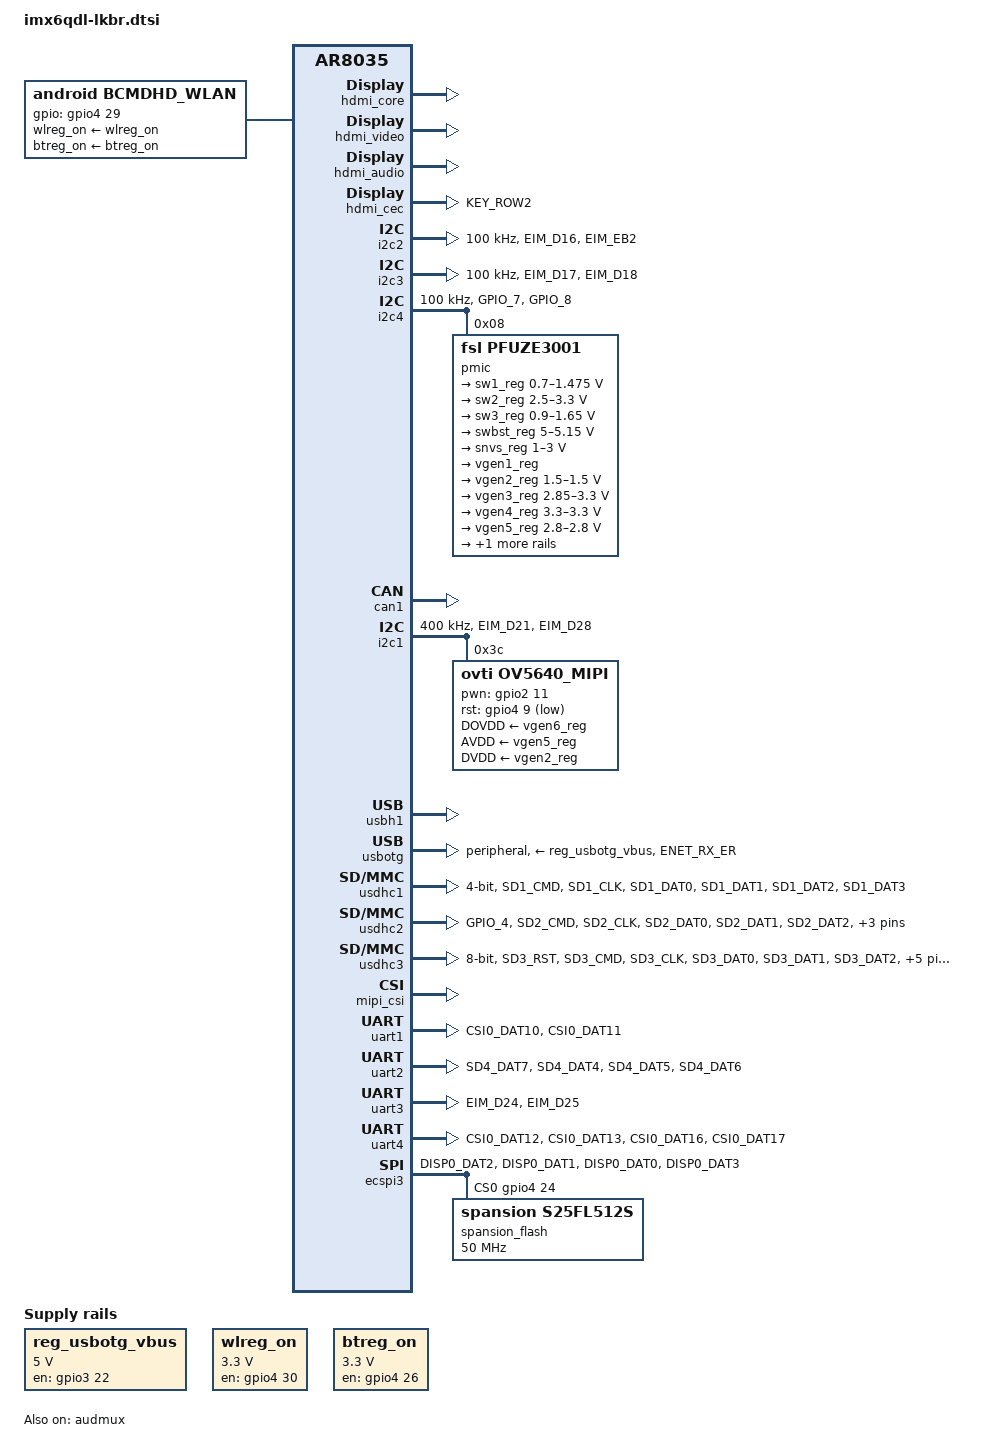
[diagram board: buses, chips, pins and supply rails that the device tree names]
/*
 * Copyright (C) 2015 Access-IS
 * Based on works by Solid Run & Russell King
 */
#include "imx6qdl-lkbr-ar8035.dtsi"

/ {
	chosen {
		bootargs = "quiet console=ttymxc0,115200 root=/dev/mmcblk0p2 rw";
	};

	aliases {
		mxcfb0 = &mxcfb1;
	};

	regulators {
		compatible = "simple-bus";

/*		reg_3p3v: 3p3v {
			compatible = "regulator-fixed";
			regulator-name = "3P3V";
			regulator-min-microvolt = <3300000>;
			regulator-max-microvolt = <3300000>;
			regulator-always-on;
		};

		reg_1p8v: 1p8v {
			compatible = "regulator-fixed";
			regulator-name = "1P8V";
			regulator-min-microvolt = <1800000>;
                        regulator-max-microvolt = <1800000>;
                        regulator-always-on;
		};

		reg_1p5v: 1p5v {
                        compatible = "regulator-fixed";
                        regulator-name = "1P5V";
                        regulator-min-microvolt = <1500000>;
                        regulator-max-microvolt = <1500000>;
                        regulator-always-on;
                };


		reg_2p8v: 2p8v {
                        compatible = "regulator-fixed";
                        regulator-name = "2P8V";
                        regulator-min-microvolt = <2800000>;
                        regulator-max-microvolt = <2800000>;
                        regulator-always-on;
                };
*/

/*		reg_usbh1_vbus: usb-h1-vbus {
			compatible = "regulator-fixed";
			enable-active-high;
			gpio = <&gpio1 0 0>;
			pinctrl-names = "default";
			pinctrl-0 = <&pinctrl_lkbr_usbh1_vbus>;
			regulator-name = "usb_h1_vbus";
			regulator-min-microvolt = <5000000>;
			regulator-max-microvolt = <5000000>;
		};
*/
		reg_usbotg_vbus: usb-otg-vbus {
			compatible = "regulator-fixed";
            enable-active-high;
			gpio = <&gpio3 22 0>;
			pinctrl-names = "default";
			pinctrl-0 = <&pinctrl_lkbr_usbotg_vbus>;
			regulator-name = "usb_otg_vbus";
			regulator-min-microvolt = <5000000>;
			regulator-max-microvolt = <5000000>;
		};

		wlreg_on: wl-reg {
			compatible = "regulator-fixed";
 			regulator-min-microvolt = <3300000>;
 			regulator-max-microvolt = <3300000>;
 			regulator-name = "wlreg_on";
            pinctrl-names = "default";
			pinctrl-0 = <&pinctrl_lkbr_wifi_wlreg>;
 			gpio = <&gpio4 30 0>; /* WL_REG_ON */
 			startup-delay-us = <60000>; /* WL_REG_ON preferred is 60000: default 500 */
 			enable-active-high;
 			/*regulator-boot-on;*/
 			regulator-always-on;
		};

		btreg_on: bt-reg {
			compatible = "regulator-fixed";
 			regulator-min-microvolt = <3300000>;
 			regulator-max-microvolt = <3300000>;
 			regulator-name = "btreg_on";
            pinctrl-names = "default";
			pinctrl-0 = <&pinctrl_lkbr_wifi_btreg>;
 			gpio = <&gpio4 26 0>; /* BT_REG_ON */
			startup-delay-us = <60000>;
 			enable-active-high;
 			/*regulator-boot-on;*/
 			regulator-always-on;
		};
	};

	bcmdhd_wlan {
		compatible = "android,bcmdhd_wlan";
                pinctrl-names = "default";
                pinctrl-0 = <&pinctrl_lkbr_wifi>;
//		bt_dev_wake_gpio = <&gpio4 27 0>; /* BT_DEV_WAKE */
//		bt_host_wake_gpio = <&gpio4 28 0>; /* BT_HOST_WAKE */
		gpios = <&gpio4 29 0>; /* WL_GPIO_0 */
		wlreg_on-supply = <&wlreg_on>;
		btreg_on-supply = <&btreg_on>;
	};


	sound-hdmi {
		compatible = "fsl,imx6q-audio-hdmi",
			     "fsl,imx-audio-hdmi";
		model = "imx-audio-hdmi";
		hdmi-controller = <&hdmi_audio>;
	};

	mxcfb1: fb@0 {
		compatible = "fsl,mxc_sdc_fb";
		disp_dev = "lcd";
		interface_pix_fmt = "RGB24";
		mode_str ="ACCESS43";
		default_bpp = <32>;
		int_clk = <0>;
		late_init = <0>;
		status = "okay";
	};

	lcd: lcd@0 {
		compatible = "fsl,lcd";
		ipu_id = <0>;
		disp_id = <1>;
		default_ifmt = "RGB24";
		pinctrl-names = "default";
		pinctrl-0 = <&pinctrl_ipu1_1>;
		status = "okay";
	};

	v4l2_cap_0 {
		compatible = "fsl,imx6q-v4l2-capture";
		ipu_id = <0>;
		csi_id = <1>;
		mclk_source = <0>;
		mipi_camera = <1>;
		default_input = <0>;
		status = "okay";
	};
};

&hdmi_core {
	ipu_id = <0>;
	disp_id = <0>;
	status = "okay";
};

&hdmi_video {
	fsl,phy_reg_vlev = <0x0294>;
	fsl,phy_reg_cksymtx = <0x800d>;
	status = "okay";
};

&hdmi_audio {
	status = "okay";
};

&hdmi_cec {
	pinctrl-names = "default";
	pinctrl-0 = <&pinctrl_lkbr_hdmi>;
	status = "okay";
};

&i2c2 {
	clock-frequency = <100000>;
	pinctrl-names = "default";
	pinctrl-0 = <&pinctrl_lkbr_i2c2>;
	status = "okay";
};

&i2c3 {
	clock-frequency = <100000>;
	pinctrl-names = "default";
	pinctrl-0 = <&pinctrl_lkbr_i2c3>;
	status = "okay";
};

&i2c4 {
	clock-frequency = <100000>;
	pinctrl-names = "default";
	pinctrl-0 = <&pinctrl_lkbr_i2c4>;
	status = "okay";

	pmic: pfuze3001@08 {
		compatible = "fsl,pfuze3001";
		reg = <0x08>;

		regulators {

			sw1_reg: sw1 {
				regulator-min-microvolt = <700000>;
				regulator-max-microvolt = <1475000>;
				regulator-always-on;
				regulator-ramp-delay = <6250>;
			};

			sw2_reg: sw2 {
				regulator-min-microvolt = <2500000>;
				regulator-max-microvolt = <3300000>;
				regulator-boot-on;
				regulator-always-on;
			};

			sw3_reg: sw3 {
				regulator-min-microvolt = <900000>;
				regulator-max-microvolt = <1650000>;
				regulator-boot-on;
				regulator-always-on;
			};

			swbst_reg: swbst {
				regulator-min-microvolt = <5000000>;
				regulator-max-microvolt = <5150000>;
			};

			snvs_reg: vsnvs {
				regulator-min-microvolt = <1000000>;
				regulator-max-microvolt = <3000000>;
				regulator-boot-on;
				regulator-always-on;
			};

			vref_reg: vrefddr {
				regulator-boot-on;
				regulator-always-on;
			};

			vgen1_reg: vldo1 {
                regulator-name = "vldo1";
				regulator-always-off;
			};

			vgen2_reg: vldo2 {
				regulator-min-microvolt = <1500000>;
				regulator-max-microvolt = <1500001>;
				regulator-always-on;
			};

			vgen3_reg: vccsd {
				regulator-min-microvolt = <2850000>;
				regulator-max-microvolt = <3300000>;
				regulator-boot-on;
				regulator-always-on;
			};

			vgen4_reg: v33 {
				regulator-min-microvolt = <3300000>;
				regulator-max-microvolt = <3300001>;
				regulator-always-on;
			};

			vgen5_reg: vldo3 {
				regulator-min-microvolt = <2800000>;
				regulator-max-microvolt = <2800001>;
				regulator-always-on;
			};

			vgen6_reg: vldo4 {
				regulator-min-microvolt = <1800000>;
				regulator-max-microvolt = <1800001>;
				regulator-always-on;
			};
		};
	};
};

&audmux {
	status = "okay";
};

&can1 {
	pinctrl-names = "default";
	status = "okay";
};

&i2c1 {
	clock-frequency = <400000>;
	pinctrl-names = "default";
	pinctrl-0 = <&pinctrl_lkbr_i2c1>;
	status = "okay";

	/*LKBR camera, OV5640*/
	ov5640_mipi: ov5640_mipi@3c {
		compatible = "ovti,ov5640_mipi";
		reg = <0x3c>;
		clocks = <&clks 200>;
				/*169 = CCM_CLKO1   &&  200 = CCM_CLKO2  &&  201 = CCM_CLKO   &&  209 = video_27m  see Documentation/devicetree/bindings/clock/imx6q-clock.txt*/
		clock-names  = "csi_mclk";
		DOVDD-supply = <&vgen6_reg>;
        AVDD-supply = <&vgen5_reg>;
        DVDD-supply = <&vgen2_reg>;
        pwn-gpios = <&gpio2 11 GPIO_ACTIVE_HIGH>;
		rst-gpios = <&gpio4 9 GPIO_ACTIVE_LOW>;
        ipu_id = <0>;
        csi_id = <1>;
        mclk = <24000000>;
        mclk_source = <0>;
        pinctrl-names = "default";
        pinctrl-0 = <&pinctrl_lkbr_mipi>;
        extended-buffer;
	};
};

&iomuxc {
	pinctrl-names = "default";
	pinctrl-0 = <&pinctrl_hog>;
	lkbr {
		pinctrl_hog: hoggrp {
			fsl,pins = <
				/*
				 * 26 pin header GPIO description. The pins
				 * numbering as following -
				 * GPIO number | GPIO (bank,num) |  PIN number
				 * ------------+-----------------+------------
				 * gpio1       | (1,1)           | IO7
				 * gpio73      | (3,9)           | IO11
				 * gpio72      | (3,8)           | IO12
				 * gpio71      | (3,7)           | IO13
				 * gpio70      | (3,6)           | IO15
				 * gpio194     | (7,2)           | IO16
				 * gpio195     | (7,3)           | IO18
				 * gpio67      | (3,3)           | IO22
				 *
				 * Notice the gpioX and GPIO (Y,Z) mapping forumla :
				 * X = (Y-1) * 32 + Z
				 */
                MX6QDL_PAD_GPIO_1__PWM2_OUT      0x400130b1
                MX6QDL_PAD_SD4_DAT1__PWM3_OUT    0x400130b1
                MX6QDL_PAD_SD4_DAT2__PWM4_OUT    0x400130b1

                MX6QDL_PAD_GPIO_0__GPIO1_IO00    0x400130b1
                /** this pin when undefined causes EMC issues! CCM_CLK01
                    appears on its output */
                MX6QDL_PAD_GPIO_5__GPIO1_IO05    0x400130b1 

				//MX6QDL_PAD_EIM_DA9__GPIO3_IO09 0x400130b1
				//MX6QDL_PAD_EIM_DA8__GPIO3_IO08 0x400130b1
				//MX6QDL_PAD_EIM_DA7__GPIO3_IO07 0x400130b1
				//MX6QDL_PAD_EIM_DA6__GPIO3_IO06 0x400130b1
				//MX6QDL_PAD_SD3_CMD__GPIO7_IO02 0x400130b1
				//MX6QDL_PAD_SD3_CLK__GPIO7_IO03 0x400130b1
				//MX6QDL_PAD_EIM_DA3__GPIO3_IO03 0x400130b1
				MX6QDL_PAD_GPIO_3__GPIO1_IO03 		0x400130b1   	/* Secret Switch!! GPIO3*/
				//MX6QDL_PAD_DISP0_DAT8__GPIO4_IO29 	0x400130b1 	/* Power to aux board (AKA PWM1, GPIO125) */
			>;
		};

		pinctrl_lkbr_hdmi: lkbr-hdmi {
			fsl,pins = <
				MX6QDL_PAD_KEY_ROW2__HDMI_TX_CEC_LINE 0x1f8b0
			>;
		};

		pinctrl_lkbr_i2c1: lkbr-i2c1 {
			fsl,pins = <
                MX6QDL_PAD_EIM_D21__I2C1_SCL               0x4000a0b1
                MX6QDL_PAD_EIM_D28__I2C1_SDA               0x4000a0b1
			>;
		};

		pinctrl_lkbr_i2c2: lkbr-i2c2 {
			fsl,pins = <
                MX6QDL_PAD_EIM_D16__I2C2_SDA  0x40000839  // 0x0001B0B0
                MX6QDL_PAD_EIM_EB2__I2C2_SCL  0x40000839  // 0x0001B0B0
			>;
		};

		pinctrl_lkbr_i2c3: lkbr-i2c3 {
			fsl,pins = <
				MX6QDL_PAD_EIM_D17__I2C3_SCL 0x40000838  /* 0x4001b8b1 */
				MX6QDL_PAD_EIM_D18__I2C3_SDA 0x40000838
			>;
		};

		pinctrl_lkbr_i2c4: lkbr-i2c4 {
			fsl,pins = <
                MX6QDL_PAD_GPIO_7__I2C4_SCL  0x40000838
                MX6QDL_PAD_GPIO_8__I2C4_SDA  0x40000838
			>;
		};

//		pinctrl_lkbr_usbh1_vbus: lkbr-usbh1-vbus {
//			fsl,pins = <MX6QDL_PAD_GPIO_0__GPIO1_IO00 0x1b0b0>;
//		};

		pinctrl_lkbr_usbotg_id: lkbr-usbotg-id {
			/*
			 * Similar to pinctrl_usbotg_2, but we want it
			 * pulled down for a fixed host connection.
			 */
			/* Not any more!
			 * Now we want it pulled up for a permanent
			 * slave connection!!
			 */
			fsl,pins = <MX6QDL_PAD_ENET_RX_ER__USB_OTG_ID 0x1B059>; /* 13059 - old value */
		};

		pinctrl_lkbr_usbotg_vbus: lkbr-usbotg-vbus {
			fsl,pins = <MX6QDL_PAD_EIM_D22__GPIO3_IO22 0x1b0b0>;
		};

		pinctrl_lkbr_usdhc1: lkbr-usdhc1 {
			fsl,pins = <
				MX6QDL_PAD_SD1_CMD__SD1_CMD    0x17059
				MX6QDL_PAD_SD1_CLK__SD1_CLK    0x10059
				MX6QDL_PAD_SD1_DAT0__SD1_DATA0 0x17059
				MX6QDL_PAD_SD1_DAT1__SD1_DATA1 0x17059
				MX6QDL_PAD_SD1_DAT2__SD1_DATA2 0x17059
				MX6QDL_PAD_SD1_DAT3__SD1_DATA3 0x17059
			>;
		};

		pinctrl_lkbr_usdhc2_aux: lkbr-usdhc2-aux {
			fsl,pins = <
				MX6QDL_PAD_GPIO_4__GPIO1_IO04    0x1f071
			>;
			/*can probably remove this - Nigel W says so!! */
		};

		pinctrl_lkbr_usdhc2: lkbr-usdhc2 {
			fsl,pins = <
				MX6QDL_PAD_SD2_CMD__SD2_CMD    0x17059
				MX6QDL_PAD_SD2_CLK__SD2_CLK    0x10059
				MX6QDL_PAD_SD2_DAT0__SD2_DATA0 0x17059
				MX6QDL_PAD_SD2_DAT1__SD2_DATA1 0x17059
				MX6QDL_PAD_SD2_DAT2__SD2_DATA2 0x17059
				MX6QDL_PAD_SD2_DAT3__SD2_DATA3 0x13059
                MX6QDL_PAD_KEY_ROW1__SD2_VSELECT           0x0001B0B0
            >;
		};

		pinctrl_lkbr_usdhc3: lkbr-usdhc3 {
			fsl,pins = <
				MX6QDL_PAD_SD3_RST__SD3_RESET  0x17059
				MX6QDL_PAD_SD3_CMD__SD3_CMD    0x17059
				MX6QDL_PAD_SD3_CLK__SD3_CLK    0x10059
				MX6QDL_PAD_SD3_DAT0__SD3_DATA0 0x17059
				MX6QDL_PAD_SD3_DAT1__SD3_DATA1 0x17059
				MX6QDL_PAD_SD3_DAT2__SD3_DATA2 0x17059
				MX6QDL_PAD_SD3_DAT3__SD3_DATA3 0x13059
				MX6QDL_PAD_SD3_DAT4__SD3_DATA4 0x17059
				MX6QDL_PAD_SD3_DAT5__SD3_DATA5 0x17059
				MX6QDL_PAD_SD3_DAT6__SD3_DATA6 0x17059
				MX6QDL_PAD_SD3_DAT7__SD3_DATA7 0x17059
			>;
		};

		pinctrl_lkbr_mipi: lkbr_mipi {
			fsl,pins = <
			//	MX6QDL_PAD_SD4_DAT2__GPIO2_IO10 	0x17059     // CAM_PWDN
				MX6QDL_PAD_NANDF_CS2__CCM_CLKO2 	0x1B059
                MX6QDL_PAD_NANDF_CS1__GPIO6_IO14	0x1B0B0     // CAM_PWR_EN
                MX6QDL_PAD_NANDF_CS3__GPIO6_IO16    0x1B0B0     // CAM_STROBE
            >;
		};

        pinctrl_lkbr_wifi: lkbr-wifi {
			fsl,pins = <
//                MX6QDL_PAD_DISP0_DAT6__GPIO4_IO27   0x0001B0B0		// BT_DEV_WAKE
//                MX6QDL_PAD_DISP0_DAT7__GPIO4_IO28   0x0001B0B0		// BT_HOST_WAKE
                MX6QDL_PAD_DISP0_DAT8__GPIO4_IO29   0x0001B030		// WL_GPIO_0
			>;

		};

        pinctrl_lkbr_wifi_wlreg: lkbr-wifi-wlreg {
			fsl,pins = <
				MX6QDL_PAD_DISP0_DAT9__GPIO4_IO30	0x30			// WL_REG_ON
			>;
		};

        pinctrl_lkbr_wifi_btreg: lkbr-wifi-btreg {
			fsl,pins = <
                MX6QDL_PAD_DISP0_DAT5__GPIO4_IO26	0x30			// BT_REG_ON
			>;

		};

	};

	ipu1 {
		pinctrl_ipu1_1: ipu1grp-1 {
			fsl,pins = <
				MX6QDL_PAD_EIM_A16__IPU1_DI1_DISP_CLK      0x10
				MX6QDL_PAD_EIM_DA10__IPU1_DI1_PIN15        0x10
				MX6QDL_PAD_EIM_DA11__IPU1_DI1_PIN02        0x10
				MX6QDL_PAD_EIM_DA12__IPU1_DI1_PIN03        0x10
				/*MX6QDL_PAD_EIM_DA15__IPU1_DI1_PIN04        0x80000000*/
				MX6QDL_PAD_EIM_DA14__IPU1_DI1_D1_CS	   0x10
				MX6QDL_PAD_EIM_DA13__IPU1_DI1_D0_CS        0x10

				MX6QDL_PAD_EIM_DA9__IPU1_DISP1_DATA00  	   0x10
				MX6QDL_PAD_EIM_DA8__IPU1_DISP1_DATA01      0x10
				MX6QDL_PAD_EIM_DA7__IPU1_DISP1_DATA02      0x10
				MX6QDL_PAD_EIM_DA6__IPU1_DISP1_DATA03      0x10
				MX6QDL_PAD_EIM_DA5__IPU1_DISP1_DATA04      0x10
				MX6QDL_PAD_EIM_DA4__IPU1_DISP1_DATA05      0x10
				MX6QDL_PAD_EIM_DA3__IPU1_DISP1_DATA06      0x10
				MX6QDL_PAD_EIM_DA2__IPU1_DISP1_DATA07      0x10

				MX6QDL_PAD_EIM_DA1__IPU1_DISP1_DATA08      0x10
				MX6QDL_PAD_EIM_DA0__IPU1_DISP1_DATA09      0x10
				MX6QDL_PAD_EIM_EB1__IPU1_DISP1_DATA10      0x10
				MX6QDL_PAD_EIM_EB0__IPU1_DISP1_DATA11      0x10
				MX6QDL_PAD_EIM_A17__IPU1_DISP1_DATA12      0x10
				MX6QDL_PAD_EIM_A18__IPU1_DISP1_DATA13      0x10
				MX6QDL_PAD_EIM_A19__IPU1_DISP1_DATA14      0x10
				MX6QDL_PAD_EIM_A20__IPU1_DISP1_DATA15      0x10

				MX6QDL_PAD_EIM_A21__IPU1_DISP1_DATA16      0x10
				MX6QDL_PAD_EIM_A22__IPU1_DISP1_DATA17      0x10
				MX6QDL_PAD_EIM_A23__IPU1_DISP1_DATA18      0x10
				MX6QDL_PAD_EIM_A24__IPU1_DISP1_DATA19      0x10
				MX6QDL_PAD_EIM_D31__IPU1_DISP1_DATA20      0x10
				MX6QDL_PAD_EIM_D30__IPU1_DISP1_DATA21      0x10
				MX6QDL_PAD_EIM_D26__IPU1_DISP1_DATA22      0x10
				MX6QDL_PAD_EIM_D27__IPU1_DISP1_DATA23      0x10
			>;
		};
	};


	lkbr {
		pinctrl_lkbr_uart1: lkbr-uart1 {
			fsl,pins = <
				MX6QDL_PAD_CSI0_DAT10__UART1_TX_DATA	0x1b0b1
				MX6QDL_PAD_CSI0_DAT11__UART1_RX_DATA	0x1b0b1
			>;
		};

		pinctrl_lkbr_uart2: lkbr-uart2 {
			fsl,pins = <
				MX6QDL_PAD_SD4_DAT7__UART2_TX_DATA	0x1b0b1
				MX6QDL_PAD_SD4_DAT4__UART2_RX_DATA	0x1b0b1
				MX6QDL_PAD_SD4_DAT5__UART2_RTS_B    0x1b0b1 /*RTS*/
				MX6QDL_PAD_SD4_DAT6__UART2_CTS_B    0x1b0b1 /*CTS*/
//				MX6QDL_PAD_SD4_DAT0__GPIO2_IO08         0x1b0b1 /*DSR*/
//				MX6QDL_PAD_SD4_DAT3__GPIO2_IO11         0x1b0b1 /*DTR*/
			>;
		};

		pinctrl_lkbr_uart3: lkbr-uart3 {
			fsl,pins = <
				MX6QDL_PAD_EIM_D24__UART3_TX_DATA	0x1b0b1
				MX6QDL_PAD_EIM_D25__UART3_RX_DATA	0x1b0b1
				/*MX6QDL_PAD_SD4_DAT5__UART2_RTS_B        0x1b0b1
				MX6QDL_PAD_SD4_DAT6__UART2_CTS_B        0x1b0b1
				MX6QDL_PAD_SD4_DAT0__GPIO2_IO08         0x1b0b1 /*DSR*/
			/*	MX6QDL_PAD_SD4_DAT3__GPIO2_IO11         0x1b0b1 /*DTR*/
			>;
		};

		pinctrl_lkbr_uart4: lkbr-uart4 {
			fsl,pins = <
				MX6QDL_PAD_CSI0_DAT12__UART4_TX_DATA 0x1b0b1
				MX6QDL_PAD_CSI0_DAT13__UART4_RX_DATA 0x1b0b1
				MX6QDL_PAD_CSI0_DAT16__UART4_RTS_B 0x1b0b1
				MX6QDL_PAD_CSI0_DAT17__UART4_CTS_B 0x1b0b1
			>;
		};

		pinctrl_lkbr_ecspi3_1: ecspi3grp-1 {
			fsl,pins = <
				MX6QDL_PAD_DISP0_DAT2__ECSPI3_MISO	0x1b0b1
				MX6QDL_PAD_DISP0_DAT1__ECSPI3_MOSI	0x1b0b1
				MX6QDL_PAD_DISP0_DAT0__ECSPI3_SCLK	0x1b0b1
				MX6QDL_PAD_DISP0_DAT3__GPIO4_IO24	0x1b0b1
			>;
		};
	};

};

&usbh1 {
	disable-over-current;
//	vbus-supply = <&reg_usbh1_vbus>;
	status = "okay";
};

&usbotg {
	disable-over-current;
	pinctrl-names = "default";
	pinctrl-0 = <&pinctrl_lkbr_usbotg_id>;
	vbus-supply = <&reg_usbotg_vbus>;
	dr_mode = "peripheral";
	status = "okay";
};

// SD1 connected to Broadcom WiFi/BT module
&usdhc1 {
	pinctrl-names = "default";
	pinctrl-0 = <
		&pinctrl_lkbr_usdhc1
	>;
	bus-width = <4>;
	enable-sdio-wakeup;
	max-frequency = <25000000>;
//	vmmc-supply = <&vccsd>;
	status = "okay";
};

&usdhc2 {
	pinctrl-names = "default";
	pinctrl-0 = <
		&pinctrl_lkbr_usdhc2_aux
		&pinctrl_lkbr_usdhc2
	>;
//	vmmc-supply = <&vccsd>;
	cd-gpios = <&gpio1 4 0>;
	status = "okay";
};

&usdhc3 {
	pinctrl-names = "default";
	pinctrl-0 = <
		&pinctrl_lkbr_usdhc3
	>;
	bus-width = <8>;
	no-1-8-v;
//	vmmc-supply = <&vccsd>;
	/*cd-gpios = <&gpio1 4 0>;*/
	enable-sdio-wakeup;
	status = "okay";
};

&gpc {
	fsl,cpu_pupscr_sw2iso = <0xf>;
	fsl,cpu_pupscr_sw = <0xf>;
	fsl,cpu_pdnscr_iso2sw = <0x1>;
	fsl,cpu_pdnscr_iso = <0x1>;
};

&mipi_csi {
	ipu_id = <0>;
	csi_id = <1>;
	v_channel = <1>;
	lanes = <2>;
	mipi_dphy_clk = <0x14>;
	status = "okay";
};

&uart1 {
	pinctrl-names = "default";
	pinctrl-0 = <&pinctrl_lkbr_uart1>;
	fsl;
	status = "okay";
};

&uart2 {
	pinctrl-names = "default";
	pinctrl-0 = <&pinctrl_lkbr_uart2>;
	fsl,uart-has-rtscts;
	status = "okay";
};

&uart3 {
	pinctrl-names = "default";
	pinctrl-0 = <&pinctrl_lkbr_uart3>;
	fsl,uart-has-rtscts;
    fsl,uart-has-dsrdtr;
	status = "okay";
};

&uart4 {
	pinctrl-names = "default";
	pinctrl-0 = <&pinctrl_lkbr_uart4>;
	fsl,uart-has-rtscts;
	status = "okay";
};

&ecspi3 {
	fsl,spi-num-chipselects = <1>;
	cs-gpios = <&gpio4 24 0>,<0>;
	pinctrl-names = "default";
	pinctrl-0 = <&pinctrl_lkbr_ecspi3_1>;
	status = "okay";

	spansion_flash: s25fl512s@0x00 {
		compatible = "spansion,s25fl512s", "jedec,spi-nor";
		spi-max-frequency = <50000000>;
		reg = <0>;
	};

#if 0
	windbond_flash: w25m512jv@0x00 {
		compatible = "winbond,w25m512jv", "jedec,spi-nor";
		spi-max-frequency = <50000000>;
		reg = <0>;
	};
#endif
};

